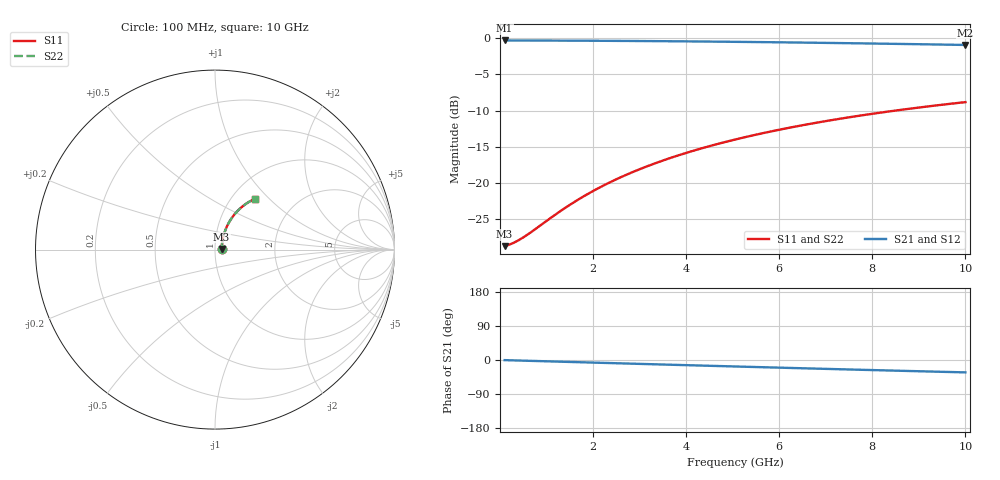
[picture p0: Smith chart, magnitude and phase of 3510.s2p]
# Hz S RI R 50.00
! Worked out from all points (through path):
!   100 points, 100 MHz to 10 GHz, reference 50 ohm
!   highest |S21| = -0.32 dB at 100 MHz (marker M1); lowest = -0.9 dB at 10 GHz (marker M2)
!   group delay of S21, straight-line fit = 9.11 ps
!   lowest |S11| = -28.7 dB at 100 MHz (marker M3), VSWR 1.08, Z = 53.8 + j0.407 ohm
!   |S11| at or under -10 dB: start of sweep to 8.498 GHz
!   |S22| runs from -28.7 to -8.8 dB; largest |S21 - S12| = 0
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1e8  0.0365 0.00378  0.9635 -0.00577  0.9635 -0.00577  0.0365 0.00378
2e8  0.0368 0.00756  0.9632 -0.0115  0.9632 -0.0115  0.0368 0.00756
3e8  0.0371 0.0113  0.9629 -0.0173  0.9629 -0.0173  0.0371 0.0113
5e8  0.0377 0.0189  0.9623 -0.0288  0.9623 -0.0288  0.0377 0.0189
7e8  0.0384 0.0264  0.9615 -0.0403  0.9615 -0.0403  0.0384 0.0264
1.3e9  0.0415 0.0487  0.9581 -0.0746  0.9581 -0.0746  0.0415 0.0487
1.6e9  0.0437 0.0598  0.9558 -0.0917  0.9558 -0.0917  0.0437 0.0598
1.8e9  0.0453 0.0671  0.954 -0.103  0.954 -0.103  0.0453 0.0671
2.2e9  0.049 0.0816  0.95 -0.1255  0.95 -0.1255  0.049 0.0816
2.6e9  0.0534 0.0959  0.9452 -0.1477  0.9452 -0.1477  0.0534 0.0959
3e9  0.0584 0.1099  0.9397 -0.1697  0.9397 -0.1697  0.0584 0.1099
3.4e9  0.0641 0.1236  0.9335 -0.1914  0.9335 -0.1914  0.0641 0.1236
3.8e9  0.0704 0.137  0.9267 -0.2127  0.9267 -0.2127  0.0704 0.137
4.2e9  0.0772 0.1499  0.9191 -0.2337  0.9191 -0.2337  0.0772 0.1499
4.6e9  0.0846 0.1625  0.911 -0.2543  0.911 -0.2543  0.0846 0.1625
5.1e9  0.0946 0.1777  0.9 -0.2794  0.9 -0.2794  0.0946 0.1777
5.9e9  0.1122 0.2004  0.8806 -0.3182  0.8806 -0.3182  0.1122 0.2004
6.7e9  0.1316 0.2211  0.8592 -0.355  0.8592 -0.355  0.1316 0.2211
7.5e9  0.1524 0.2398  0.836 -0.3898  0.836 -0.3898  0.1524 0.2398
8.4e9  0.1772 0.2582  0.8082 -0.4263  0.8082 -0.4263  0.1772 0.2582
9.2e9  0.2003 0.2721  0.7821 -0.4565  0.7821 -0.4565  0.2003 0.2721
1e10  0.2241 0.2839  0.7551 -0.4845  0.7551 -0.4845  0.2241 0.2839
